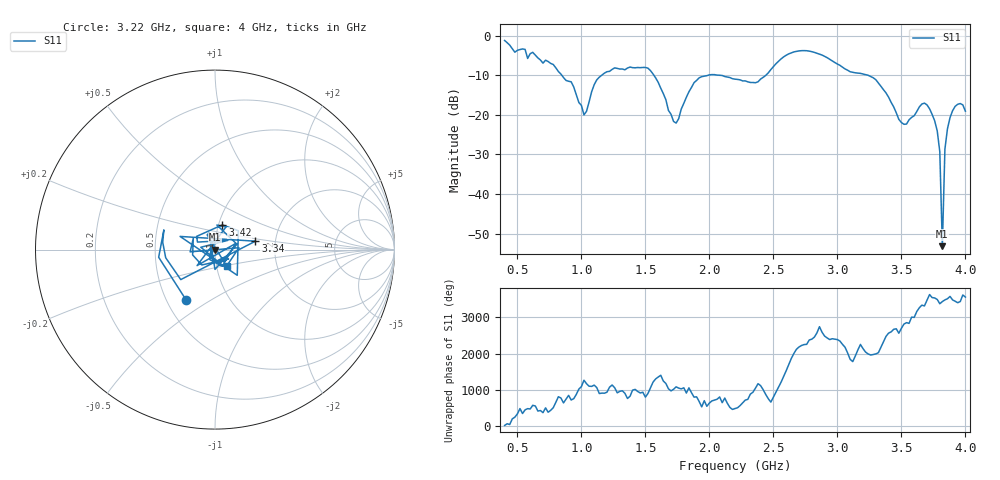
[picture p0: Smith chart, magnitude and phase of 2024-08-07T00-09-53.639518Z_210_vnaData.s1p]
!Created with skrf (http://scikit-rf.org).
# Hz S RI R 50.0
!freq ReS11 ImS11
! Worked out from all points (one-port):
!   181 points, 400 MHz to 4 GHz, reference 50 ohm
!   lowest |S11| = -53.2 dB at 3.82 GHz (marker M1), VSWR 1.00, Z = 49.8 - j0.0165 ohm
!   |S11| at or under -10 dB: 1.567 GHz to 1.989 GHz (422.2 MHz wide, 23.7 % of centre); 2.085 GHz to 2.441 GHz (355.9 MHz wide, 15.7 % of centre); 3.241 GHz to end of sweep (the widest 3 of 4)
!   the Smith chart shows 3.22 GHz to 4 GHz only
!   S11 on the Smith chart (normalised r, x): 3.22 GHz: 0.63, -0.40; 3.34 GHz: 1.57, +0.16; 3.42 GHz: 1.04, +0.29; 4 GHz: 1.12, -0.20
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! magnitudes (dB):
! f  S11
! 400 MHz  -1.2
! 860 MHz  -10.6
! 920 MHz  -11.6
! 1.02 GHz  -20.0
! 1.12 GHz  -11.1
! 1.3 GHz  -8.4
! 1.52 GHz  -8.2
! 1.6 GHz  -11.8
! 1.72 GHz  -21.6
! 1.76 GHz  -21.0
! 1.92 GHz  -10.6
! 2.2 GHz  -11.0
! 2.38 GHz  -11.6
! 2.66 GHz  -4.1
! 3.1 GHz  -9.1
! 3.22 GHz  -9.8
! 3.34 GHz  -12.8
! 3.42 GHz  -16.8
! 3.5 GHz  -21.9
! 3.56 GHz  -21.2
! 3.68 GHz  -17.0
! 3.76 GHz  -21.5
! 3.8 GHz  -29.3
! 3.82 GHz  -53.2
! 3.84 GHz  -28.6
! 3.86 GHz  -23.5
! 3.92 GHz  -17.8
! 4 GHz  -19.1
